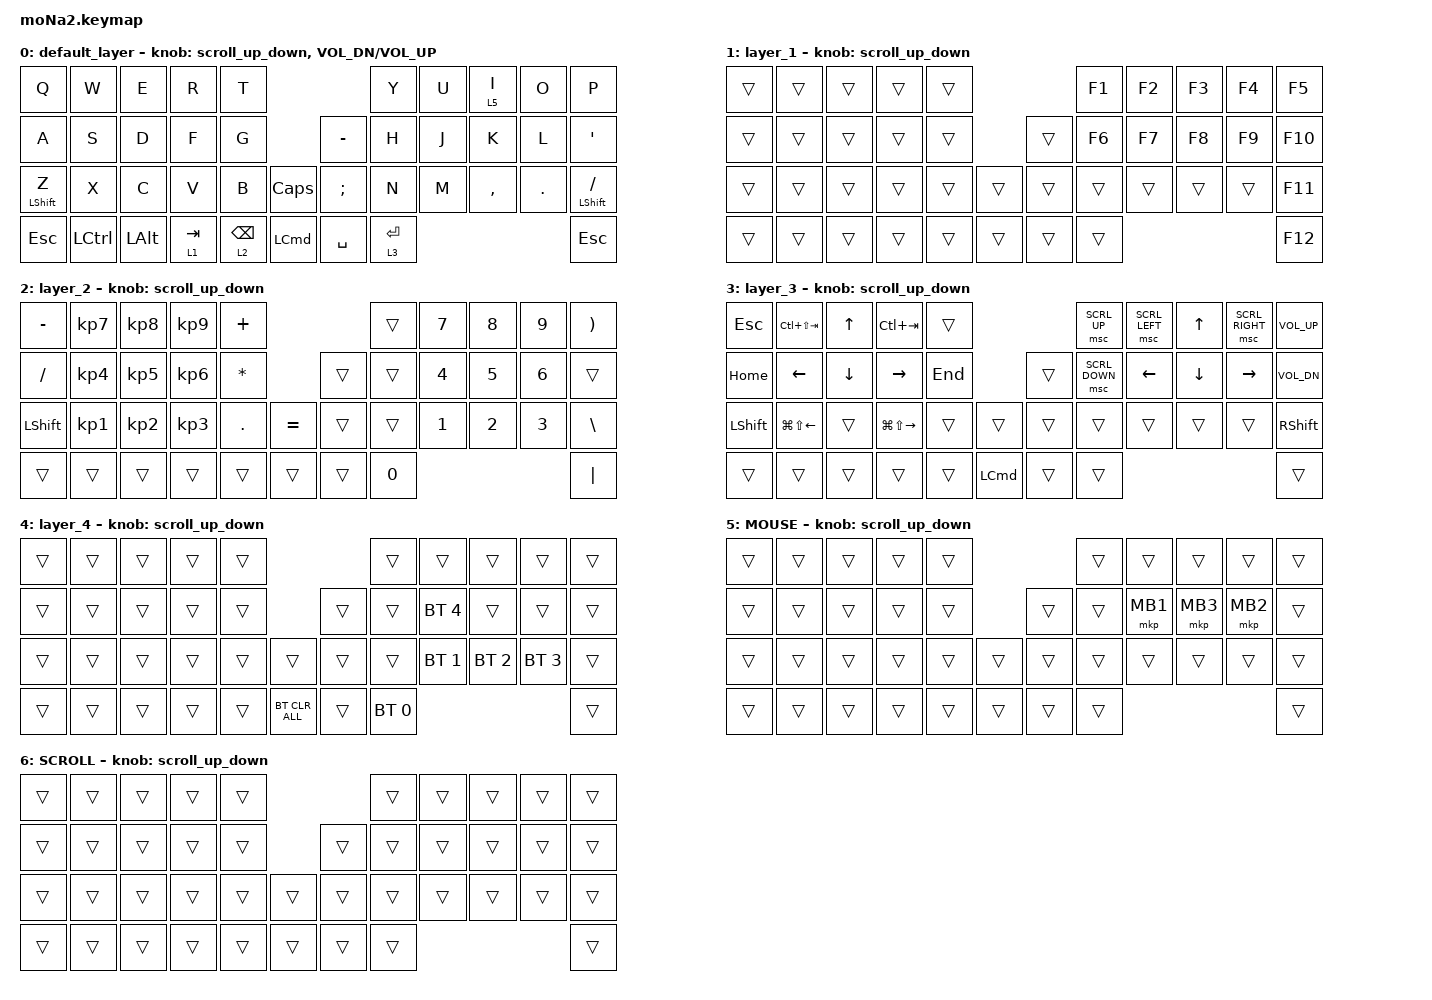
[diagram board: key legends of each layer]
#include <behaviors.dtsi>
#include <dt-bindings/zmk/bt.h>
#include <dt-bindings/zmk/keys.h>
#include <dt-bindings/zmk/pointing.h>

#define ZMK_POINTING_DEFAULT_SCRL_VAL 100
#define MOUSE 5
#define SCROLL 6

&mt {
    flavor = "balanced";
    quick-tap-ms = <0>;
};

/ {
    combos { compatible = "zmk,combos"; };

    macros {
        to_layer_0: to_layer_0 {
            compatible = "zmk,behavior-macro-one-param";
            #binding-cells = <1>;
            bindings = <&to 0 &macro_param_1to1 &kp MACRO_PLACEHOLDER>;
            label = "TO_LAYER_0";
        };
    };

    behaviors {
        lt_to_layer_0: lt_to_layer_0 {
            compatible = "zmk,behavior-hold-tap";
            label = "LAYER_TAP_TO_0";
            bindings = <&mo>, <&to_layer_0>;

            #binding-cells = <2>;
            tapping-term-ms = <200>;
        };

        scroll_up_down: behavior_sensor_rotate_mouse_wheel_up_down {
            compatible = "zmk,behavior-sensor-rotate";
            #sensor-binding-cells = <0>;
            bindings = <&msc SCRL_UP>, <&msc SCRL_DOWN>;

            tap-ms = <20>;
        };
    };

    keymap {
        compatible = "zmk,keymap";

        default_layer {
            bindings = <
&kp Q             &kp W             &kp E         &kp R      &kp T                                               &kp Y        &kp U  &lt 5 I    &kp O    &kp P
&kp A             &kp S             &kp D         &kp F      &kp G                                &kp MINUS      &kp H        &kp J  &kp K      &kp L    &kp SQT
&mt LEFT_SHIFT Z  &kp X             &kp C         &kp V      &kp B            &kp CAPS            &kp SEMICOLON  &kp N        &kp M  &kp COMMA  &kp DOT  &mt LEFT_SHIFT SLASH
&kp ESCAPE        &kp LEFT_CONTROL  &kp LEFT_ALT  &lt 1 TAB  &lt 2 BACKSPACE  &kp LEFT_COMMAND    &kp SPACE      &lt 3 ENTER                             &kp ESCAPE
            >;

            sensor-bindings =
                <&scroll_up_down>,
                <&inc_dec_kp C_VOL_DN C_VOL_UP>;
        };

        layer_1 {
            bindings = <
&trans  &trans  &trans  &trans  &trans                    &kp F1  &kp F2  &kp F3  &kp F4  &kp F5
&trans  &trans  &trans  &trans  &trans            &trans  &kp F6  &kp F7  &kp F8  &kp F9  &kp F10
&trans  &trans  &trans  &trans  &trans  &trans    &trans  &trans  &trans  &trans  &trans  &kp F11
&trans  &trans  &trans  &trans  &trans  &trans    &trans  &trans                          &kp F12
            >;

            sensor-bindings = <&scroll_up_down>;
        };

        layer_2 {
            bindings = <
&kp MINUS       &kp KP_NUMBER_7  &kp KP_NUMBER_8  &kp KP_NUMBER_9  &kp PLUS                           &trans  &kp N7        &kp N8        &kp N9        &kp RIGHT_PARENTHESIS
&kp SLASH       &kp KP_NUMBER_4  &kp KP_NUMBER_5  &kp KP_NUMBER_6  &kp ASTERISK               &trans  &trans  &kp NUMBER_4  &kp N5        &kp NUMBER_6  &trans
&kp LEFT_SHIFT  &kp KP_NUMBER_1  &kp KP_NUMBER_2  &kp KP_NUMBER_3  &kp PERIOD    &kp EQUAL    &trans  &trans  &kp NUMBER_1  &kp NUMBER_2  &kp NUMBER_3  &kp BACKSLASH
&trans          &trans           &trans           &trans           &trans        &trans       &trans  &kp N0                                            &kp PIPE
            >;

            sensor-bindings = <&scroll_up_down>;
        };

        layer_3 {
            bindings = <
&kp ESCAPE      &kp LC(LS(TAB))         &kp UP_ARROW    &kp LC(TAB)              &trans                               &msc SCRL_UP    &msc SCRL_LEFT  &kp UP_ARROW    &msc SCRL_RIGHT  &kp C_VOLUME_UP
&kp HOME        &kp LEFT_ARROW          &kp DOWN_ARROW  &kp RIGHT_ARROW          &kp END                      &trans  &msc SCRL_DOWN  &kp LEFT_ARROW  &kp DOWN_ARROW  &kp RIGHT_ARROW  &kp C_VOL_DN
&kp LEFT_SHIFT  &kp LG(LS(LEFT_ARROW))  &trans          &kp LG(LS(RIGHT_ARROW))  &trans   &trans              &trans  &trans          &trans          &trans          &trans           &kp RIGHT_SHIFT
&trans          &trans                  &trans          &trans                   &trans   &kp LEFT_COMMAND    &trans  &trans                                                           &trans
            >;

            sensor-bindings = <&scroll_up_down>;
        };

        layer_4 {
            bindings = <
&trans  &trans  &trans  &trans  &trans                            &trans        &trans        &trans        &trans        &trans
&trans  &trans  &trans  &trans  &trans                    &trans  &trans        &bt BT_SEL 4  &trans        &trans        &trans
&trans  &trans  &trans  &trans  &trans  &trans            &trans  &trans        &bt BT_SEL 1  &bt BT_SEL 2  &bt BT_SEL 3  &trans
&trans  &trans  &trans  &trans  &trans  &bt BT_CLR_ALL    &trans  &bt BT_SEL 0                                            &trans
            >;

            sensor-bindings = <&scroll_up_down>;
        };

        MOUSE {
            bindings = <
&trans  &trans  &trans  &trans  &trans                    &trans  &trans    &trans    &trans    &trans
&trans  &trans  &trans  &trans  &trans            &trans  &trans  &mkp MB1  &mkp MB3  &mkp MB2  &trans
&trans  &trans  &trans  &trans  &trans  &trans    &trans  &trans  &trans    &trans    &trans    &trans
&trans  &trans  &trans  &trans  &trans  &trans    &trans  &trans                                &trans
            >;

            sensor-bindings = <&scroll_up_down>;
        };

        SCROLL {
            bindings = <
&trans  &trans  &trans  &trans  &trans                    &trans  &trans  &trans  &trans  &trans
&trans  &trans  &trans  &trans  &trans            &trans  &trans  &trans  &trans  &trans  &trans
&trans  &trans  &trans  &trans  &trans  &trans    &trans  &trans  &trans  &trans  &trans  &trans
&trans  &trans  &trans  &trans  &trans  &trans    &trans  &trans                          &trans
            >;

            sensor-bindings = <&scroll_up_down>;
        };
    };
};

#include <input/processors.dtsi>

&mkp_input_listener {
    input-processors = <&zip_temp_layer 5 250>;
};
